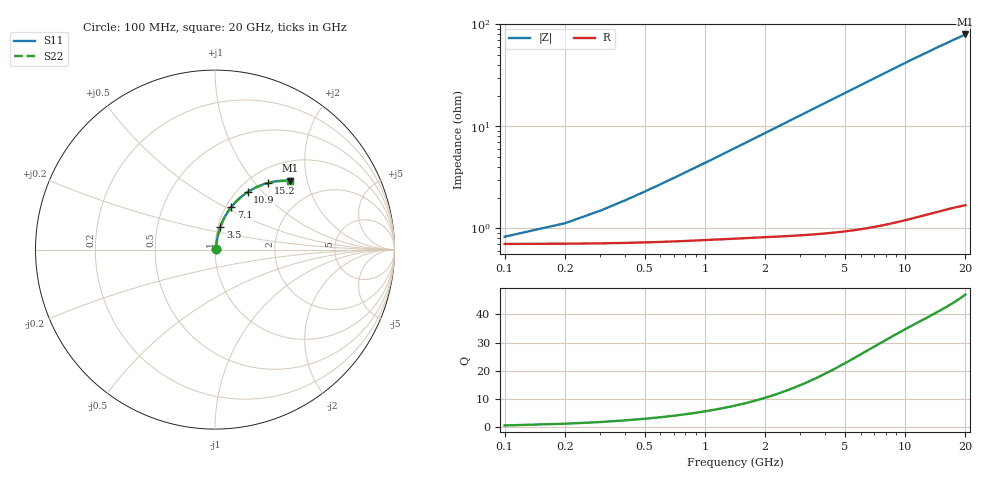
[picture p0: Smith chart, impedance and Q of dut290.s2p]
! Touchstone file exported from HFSS 2026.1.0
!  File:  C:/ffzhzh/LocalFiles/Ansys_Project_Files/temp_train_BSMRDL_290_1782989264_42984.aedt
!  Generated:  06:48:58 PM Jul  2, 2026
!  Design:  BSMRDL
!  Project:  temp_train_BSMRDL_290_1782989264_42984
! Variables:
!  h_bsmrdl = 2.71um
!  h_ox = 20um
!  h_rdl = 5um
!  h_sub = 80um
!  h_tmrdl = 5um
!  h_tsv = 80um
!  h_via = 3um
!  l_bsmrdl = 541.01um
!  l_sub = 941.01um
!  l_tmrdl = 200um
!  m_sub = 200um
!  pitch = 59.7um
!  r_tsv = 6um
!  s_tmrdl = 10um
!  w_bsmrdl = 10.08um
!  w_sub = 500um
!  w_tmrdl = 12um
!  x_tsv_center1 = 206um
!  x_tsv_center2 = 757.09um
!  x_tsv_center3 = 969.09um
!  x_tsv_center4 = 1520.18um
!  x_tsv_center5 = 1732.18um
!  x_tsv_center6 = 2283.27um
# GHz S MA R 50.000000
! Terminal data exported
! Port[1] = BSM_RDL1_1_T1
! Port[2] = BSM_RDL1_1_T2
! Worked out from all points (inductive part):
!   200 points, 100 MHz to 20 GHz, reference 50 ohm
!   read as one part in series: L = 688 pH near 600 MHz
!   highest Q = 47 at 20 GHz (marker M1), where L = 632 pH
!   S11 on the Smith chart (normalised r, x): 100 MHz: 1.01, +0.01; 3.5 GHz: 1.03, +0.26; 7.1 GHz: 1.06, +0.54; 10.9 GHz: 1.12, +0.83; 15.2 GHz: 1.22, +1.17; 20 GHz: 1.39, +1.58
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0.1  0.007999 28.5  0.993 -0.3  0.993 -0.3  0.007999 28.5
! Gamma 0 0 0 0
! Port Impedance 50 0 50 0
0.3  0.01355 57.6  0.9928 -0.8  0.9928 -0.8  0.01355 57.6
0.4  0.01695 63.9  0.9927 -1.1  0.9927 -1.1  0.01695 63.9
0.6  0.02409 70.6  0.9924 -1.7  0.9924 -1.7  0.02409 70.6
0.7  0.02772 72.6  0.9922 -1.9  0.9922 -1.9  0.02772 72.6
0.9  0.03502 75.1  0.9919 -2.5  0.9919 -2.5  0.03503 75.1
1.2  0.04602 77.0  0.9912 -3.3  0.9912 -3.3  0.04602 77.0
1.7  0.06434 78.2  0.99 -4.6  0.99 -4.6  0.06435 78.2
2.2  0.08264 78.4  0.9884 -6.0  0.9884 -6.0  0.08264 78.3
2.8  0.1045 77.9  0.9862 -7.6  0.9862 -7.6  0.1045 77.8
3.5  0.1298 76.8  0.983 -9.4  0.983 -9.4  0.1298 76.8
4.2  0.1548 75.5  0.9792 -11.3  0.9792 -11.3  0.1548 75.5
5  0.1828 73.8  0.9741 -13.3  0.9741 -13.3  0.1828 73.8
6.8  0.2438 69.8  0.96 -17.9  0.96 -17.9  0.2438 69.7
7.1  0.2536 69.1  0.9574 -18.7  0.9574 -18.7  0.2536 69.0
8.5  0.298 65.9  0.9441 -22.1  0.9441 -22.1  0.298 65.8
10.1  0.3457 62.2  0.9272 -25.9  0.9272 -25.9  0.3457 62.2
10.9  0.3683 60.5  0.9182 -27.8  0.9182 -27.8  0.3683 60.4
13.4  0.4334 55.1  0.8888 -33.3  0.8888 -33.3  0.4334 55.0
15.2  0.4752 51.4  0.8669 -37.1  0.8669 -37.1  0.4752 51.3
16.7  0.507 48.5  0.8487 -40.0  0.8487 -40.0  0.507 48.4
20  0.5676 42.6  0.8095 -46.1  0.8095 -46.1  0.5676 42.4
